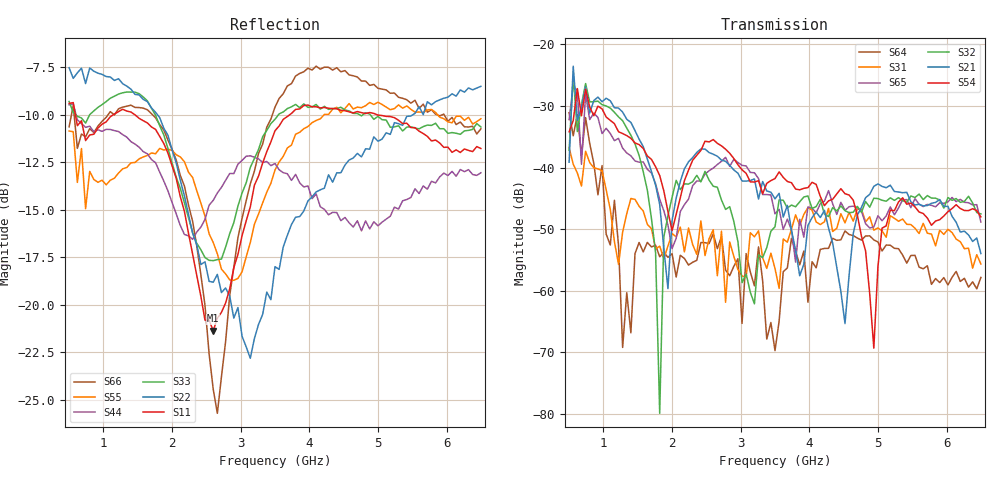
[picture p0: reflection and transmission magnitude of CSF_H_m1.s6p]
!Keysight Technologies,M9804A,MY58100912,A.14.10.03
!Date: Thursday, April 27, 2023 10:28:33
!Correction: S11(C  6-Port  )
!S12(C  6-Port  )
!S13(C  6-Port  )
!S14(C  6-Port  )
!S15(C  6-Port  )
!S16(C  6-Port  )
!S21(C  6-Port  )
!S22(C  6-Port  )
!S23(C  6-Port  )
!S24(C  6-Port  )
!S25(C  6-Port  )
!S26(C  6-Port  )
!S31(C  6-Port  )
!S32(C  6-Port  )
!S33(C  6-Port  )
!S34(C  6-Port  )
!S35(C  6-Port  )
!S36(C  6-Port  )
!S41(C  6-Port  )
!S42(C  6-Port  )
!S43(C  6-Port  )
!S44(C  6-Port  )
!S45(C  6-Port  )
!S46(C  6-Port  )
!S51(C  6-Port  )
!S52(C  6-Port  )
!S53(C  6-Port  )
!S54(C  6-Port  )
!S55(C  6-Port  )
!S56(C  6-Port  )
!S61(C  6-Port  )
!S62(C  6-Port  )
!S63(C  6-Port  )
!S64(C  6-Port  )
!S65(C  6-Port  )
!S66(C  6-Port  )
!S6P File: Measurement: :
# Hz S  RI  R 50
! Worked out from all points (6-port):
!   101 points, 500 MHz to 6.5 GHz, reference 50 ohm
!   strongest paths, dB at 500 MHz, 2 GHz, 3.5 GHz, 5 GHz, 6.5 GHz:
!     S54: -34.2, -50.2, -41.8, -56.0, -48.0
!     S21: -39.1, -48.6, -45.1, -42.6, -53.9
!     S32: -37.2, -44.8, -49.6, -45.0, -47.5
!     S65: -32.2, -53.1, -47.5, -47.8, -48.8
!     S31: -36.8, -50.7, -56.4, -49.8, -55.6
!     S64: -31.1, -54.0, -69.7, -52.1, -57.8
!   lowest |S11| = -21.4 dB at 2.6 GHz (marker M1), VSWR 1.19, Z = 42.4 + j2.31 ohm
!   |S11| at or under -10 dB: 591.6 MHz to 1.143 GHz (551 MHz wide, 63.5 % of centre); 1.459 GHz to 3.714 GHz (2.255 GHz wide, 87.2 % of centre); 4.989 GHz to end of sweep
